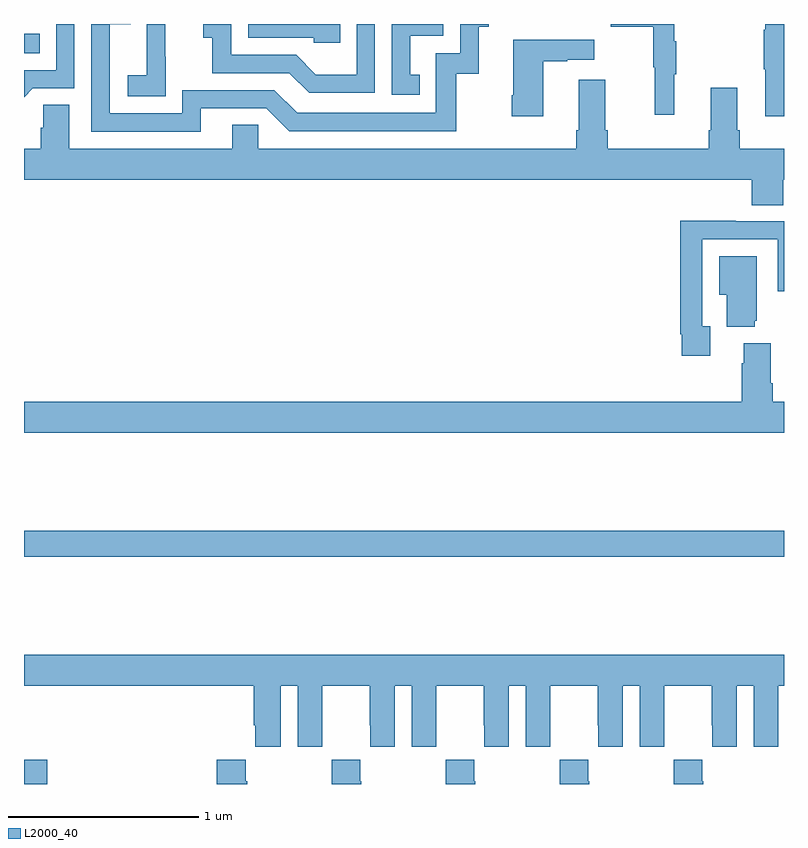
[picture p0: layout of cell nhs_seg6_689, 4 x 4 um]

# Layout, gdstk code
import gdstk
lib = gdstk.Library(unit=1e-6, precision=1e-09)
def R(c, l, rs):  # rectangles x0, y0, x1, y1
    for r in rs: c.add(gdstk.rectangle(r[:2], r[2:], *l))
def P(c, l, *ps):  # polygons
    for p in ps: c.add(gdstk.Polygon(p, *l))
L2000_40 = (2000, 40)

nhs_seg6_689 = lib.new_cell('nhs_seg6_689')
R(nhs_seg6_689, L2000_40, [(155,933.5,155.123,933.628), (155,934.696,159,934.832), (155,937.346,155.084,937.45)])
P(nhs_seg6_689, L2000_40, [(158.423,937.235),(158.434,937.235),(158.434,937.409),(158.423,937.409),(158.423,937.5),(158.089,937.5),(158.089,937.486),(158.313,937.486),(158.313,937.272),(158.32,937.272),(158.32,937.023),(158.423,937.023)],
  [(155.929,937.056),(156.276,937.056),(156.396,936.936),(157.276,936.936),(157.276,937.239),(157.394,937.239),(157.394,937.485),(157.447,937.485),(157.447,937.5),(157.296,937.5),(157.296,937.347),(157.167,937.347),(157.167,937.032),(156.438,937.032),(156.318,937.152),(155.832,937.152),(155.832,937.029),(155.451,937.029),(155.451,937.498),(155.561,937.498),(155.561,937.5),(155.355,937.5),(155.355,936.933),(155.929,936.933)],
  [(156.665,937.5),(156.18,937.5),(156.18,937.428),(156.525,937.428),(156.525,937.401),(156.665,937.401)],
  [(155.745,937.327),(155.744,937.327),(155.744,937.5),(155.646,937.5),(155.646,937.46),(155.645,937.46),(155.645,937.231),(155.547,937.231),(155.547,937.121),(155.745,937.121)],
  [(159,937.5),(158.9,937.5),(158.9,937.469),(158.893,937.469),(158.893,937.263),(158.9,937.263),(158.9,937.014),(159,937.014)],
  [(157.082,937.233),(157.033,937.233),(157.033,937.437),(157.206,937.437),(157.206,937.5),(156.936,937.5),(156.936,937.128),(157.082,937.128)],
  [(155.046,937.161),(155.265,937.161),(155.265,937.5),(155.169,937.5),(155.169,937.257),(155,937.257),(155,937.115)],
  [(156.846,937.5),(156.75,937.5),(156.75,937.234),(156.536,937.234),(156.432,937.338),(156.09,937.338),(156.09,937.5),(155.943,937.5),(155.943,937.427),(155.992,937.427),(155.992,937.242),(156.395,937.242),(156.5,937.137),(156.846,937.137)],
  [(157.732,937.303),(157.859,937.303),(157.859,937.313),(158.002,937.313),(158.002,937.417),(157.574,937.417),(157.574,937.126),(157.567,937.126),(157.567,937.014),(157.732,937.014)],
  [(158.996,936.68),(159,936.68),(159,936.844),(158.768,936.844),(158.768,936.94),(158.755,936.94),(158.755,937.165),(158.615,937.165),(158.615,936.94),(158.603,936.94),(158.603,936.844),(158.072,936.844),(158.072,936.94),(158.059,936.94),(158.059,937.207),(157.919,937.207),(157.919,936.94),(157.907,936.94),(157.907,936.844),(156.234,936.844),(156.234,936.971),(156.095,936.971),(156.095,936.844),(155.239,936.844),(155.239,937.076),(155.1,937.076),(155.1,936.953),(155.087,936.953),(155.087,936.844),(155,936.844),(155,936.68),(158.831,936.68),(158.831,936.547),(158.996,936.547)],
  [(158.611,935.91),(158.571,935.91),(158.571,936.366),(158.967,936.366),(158.967,936.093),(159,936.093),(159,936.462),(158.747,936.462),(158.747,936.464),(158.455,936.464),(158.455,935.866),(158.463,935.866),(158.463,935.754),(158.611,935.754)],
  [(158.846,935.937),(158.857,935.937),(158.857,936.277),(158.66,936.277),(158.66,936.074),(158.699,936.074),(158.699,935.906),(158.846,935.906)],
  [(159,935.512),(158.942,935.512),(158.942,935.608),(158.929,935.608),(158.929,935.821),(158.789,935.821),(158.789,935.714),(158.777,935.714),(158.777,935.512),(155,935.512),(155,935.348),(159,935.348)],
  [(156.352,934.016),(156.44,934.016),(156.44,933.696),(156.57,933.696),(156.57,933.808),(156.571,933.808),(156.571,934.016),(156.821,934.016),(156.821,933.808),(156.822,933.808),(156.822,933.696),(156.952,933.696),(156.952,934.016),(157.04,934.016),(157.04,933.696),(157.17,933.696),(157.17,933.808),(157.171,933.808),(157.171,934.016),(157.421,934.016),(157.421,933.808),(157.422,933.808),(157.422,933.696),(157.552,933.696),(157.552,934.016),(157.64,934.016),(157.64,933.696),(157.77,933.696),(157.77,933.808),(157.771,933.808),(157.771,934.016),(158.021,934.016),(158.021,933.808),(158.022,933.808),(158.022,933.696),(158.152,933.696),(158.152,934.016),(158.24,934.016),(158.24,933.696),(158.37,933.696),(158.37,933.808),(158.371,933.808),(158.371,934.016),(158.621,934.016),(158.621,933.808),(158.622,933.808),(158.622,933.696),(158.752,933.696),(158.752,934.016),(158.84,934.016),(158.84,933.696),(158.97,933.696),(158.97,933.808),(158.971,933.808),(158.971,934.016),(159,934.016),(159,934.18),(155,934.18),(155,934.016),(156.209,934.016),(156.209,933.808),(156.218,933.808),(156.218,933.696),(156.352,933.696)],
  [(158.574,933.515),(158.571,933.515),(158.571,933.628),(158.421,933.628),(158.421,933.515),(158.419,933.515),(158.419,933.5),(158.574,933.5)],
  [(157.974,933.515),(157.971,933.515),(157.971,933.628),(157.821,933.628),(157.821,933.515),(157.819,933.515),(157.819,933.5),(157.974,933.5)],
  [(157.374,933.515),(157.371,933.515),(157.371,933.628),(157.221,933.628),(157.221,933.515),(157.219,933.515),(157.219,933.5),(157.374,933.5)],
  [(156.774,933.515),(156.771,933.515),(156.771,933.628),(156.621,933.628),(156.621,933.515),(156.619,933.515),(156.619,933.5),(156.774,933.5)],
  [(156.174,933.515),(156.167,933.515),(156.167,933.628),(156.014,933.628),(156.014,933.5),(156.174,933.5)])

lib.write_gds('nhs_seg6_689.gds')
